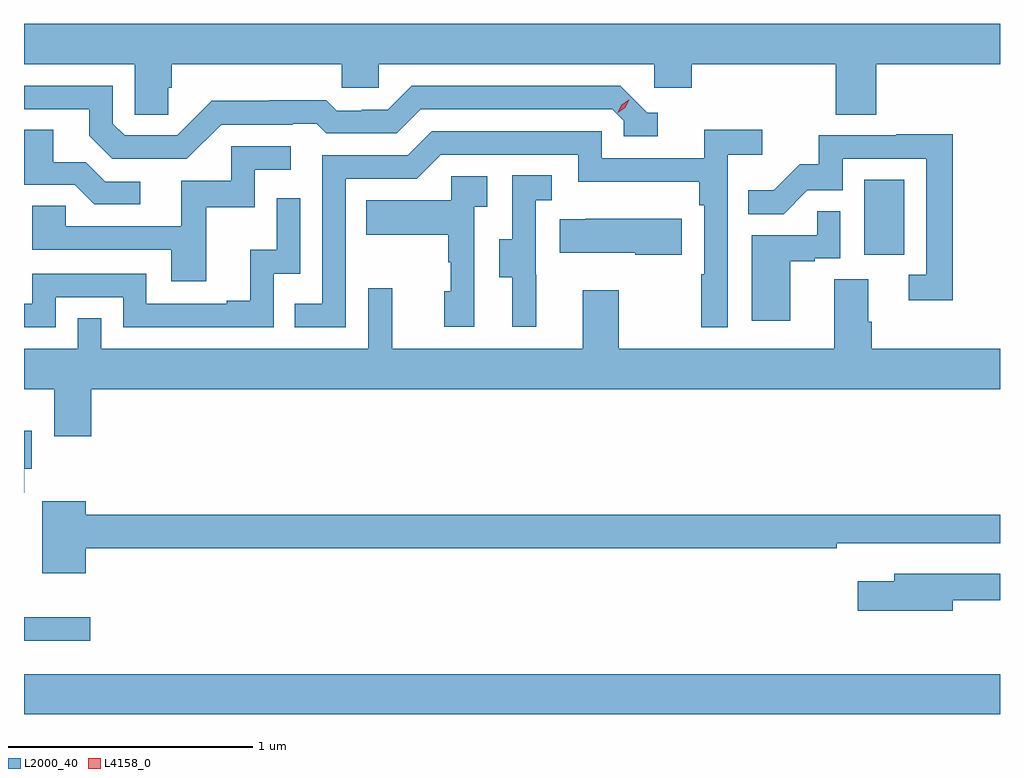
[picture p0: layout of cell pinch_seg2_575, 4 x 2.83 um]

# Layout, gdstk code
import gdstk
lib = gdstk.Library(unit=1e-6, precision=1e-09)
def R(c, l, rs):  # rectangles x0, y0, x1, y1
    for r in rs: c.add(gdstk.rectangle(r[:2], r[2:], *l))
def P(c, l, *ps):  # polygons
    for p in ps: c.add(gdstk.Polygon(p, *l))
L2000_40 = (2000, 40)
L4158_0 = (4158, 0)

pinch_seg2_575 = lib.new_cell('pinch_seg2_575')
R(pinch_seg2_575, L2000_40, [(1069.898,610.34,1073.898,610.504), (1069.898,610.64,1070.17,610.737), (1073.342,612.222,1073.506,612.529)])
P(pinch_seg2_575, L2000_40, [(1070.489,612.906),(1070.504,612.906),(1070.504,613.004),(1071.201,613.004),(1071.201,612.906),(1071.351,612.906),(1071.351,613.004),(1072.482,613.004),(1072.482,612.906),(1072.634,612.906),(1072.634,613.004),(1073.225,613.004),(1073.225,612.796),(1073.39,612.796),(1073.39,613.004),(1073.898,613.004),(1073.898,613.168),(1069.898,613.168),(1069.898,613.004),(1070.352,613.004),(1070.352,612.796),(1070.489,612.796)],
  [(1070.706,612.756),(1070.999,612.756),(1070.999,612.759),(1071.098,612.759),(1071.137,612.72),(1071.426,612.72),(1071.525,612.819),(1072.308,612.819),(1072.356,612.771),(1072.356,612.708),(1072.495,612.708),(1072.495,612.804),(1072.452,612.804),(1072.341,612.915),(1071.488,612.915),(1071.389,612.816),(1071.282,612.816),(1071.282,612.813),(1071.179,612.813),(1071.137,612.856),(1070.904,612.856),(1070.904,612.853),(1070.668,612.853),(1070.526,612.711),(1070.31,612.711),(1070.262,612.759),(1070.262,612.915),(1069.898,612.915),(1069.898,612.819),(1070.165,612.819),(1070.165,612.709),(1070.259,612.615),(1070.565,612.615)],
  [(1070.374,612.522),(1070.232,612.522),(1070.152,612.602),(1070.017,612.602),(1070.017,612.734),(1069.898,612.734),(1069.898,612.509),(1069.899,612.51),(1070.105,612.51),(1070.186,612.429),(1070.374,612.429)],
  [(1071.216,612.534),(1071.507,612.534),(1071.606,612.633),(1072.17,612.633),(1072.17,612.521),(1072.666,612.521),(1072.666,612.425),(1072.686,612.425),(1072.686,612.143),(1072.674,612.143),(1072.674,611.925),(1072.782,611.925),(1072.782,612.632),(1072.924,612.632),(1072.924,612.734),(1072.685,612.734),(1072.685,612.618),(1072.266,612.618),(1072.266,612.729),(1071.569,612.729),(1071.47,612.63),(1071.12,612.63),(1071.12,612.021),(1071.007,612.021),(1071.007,611.925),(1071.216,611.925)],
  [(1073.704,612.716),(1073.473,612.716),(1073.473,612.711),(1073.155,612.711),(1073.155,612.594),(1073.078,612.594),(1072.971,612.487),(1072.867,612.487),(1072.867,612.388),(1073.011,612.388),(1073.109,612.486),(1073.253,612.486),(1073.253,612.615),(1073.595,612.615),(1073.595,612.141),(1073.523,612.141),(1073.523,612.036),(1073.704,612.036)],
  [(1070.645,612.417),(1070.844,612.417),(1070.844,612.57),(1070.992,612.57),(1070.992,612.666),(1070.748,612.666),(1070.748,612.525),(1070.543,612.525),(1070.543,612.339),(1070.069,612.339),(1070.069,612.423),(1069.932,612.423),(1069.932,612.243),(1070.501,612.243),(1070.501,612.114),(1070.645,612.114)],
  [(1071.998,612.141),(1071.996,612.141),(1071.996,612.445),(1072.06,612.445),(1072.06,612.548),(1071.9,612.548),(1071.9,612.285),(1071.845,612.285),(1071.845,612.13),(1071.899,612.13),(1071.899,611.928),(1071.998,611.928)],
  [(1071.744,612.419),(1071.796,612.419),(1071.796,612.543),(1071.648,612.543),(1071.648,612.445),(1071.301,612.445),(1071.301,612.305),(1071.636,612.305),(1071.636,612.191),(1071.646,612.191),(1071.646,612.072),(1071.62,612.072),(1071.62,611.928),(1071.744,611.928)],
  [(1070.028,612.048),(1070.304,612.048),(1070.304,611.925),(1070.922,611.925),(1070.922,612.144),(1071.03,612.144),(1071.03,612.454),(1070.934,612.454),(1070.934,612.242),(1070.825,612.242),(1070.825,612.034),(1070.729,612.034),(1070.729,612.021),(1070.4,612.021),(1070.4,612.144),(1069.932,612.144),(1069.932,612.021),(1069.898,612.021),(1069.898,611.925),(1070.028,611.925)],
  [(1073.038,612.195),(1073.138,612.195),(1073.138,612.207),(1073.244,612.207),(1073.244,612.401),(1073.149,612.401),(1073.149,612.303),(1072.88,612.303),(1072.88,611.952),(1073.038,611.952)],
  [(1072.594,612.37),(1072.201,612.37),(1072.201,612.367),(1072.093,612.367),(1072.093,612.23),(1072.403,612.23),(1072.403,612.223),(1072.594,612.223)],
  [(1070.174,611.672),(1073.898,611.672),(1073.898,611.836),(1073.372,611.836),(1073.372,611.948),(1073.359,611.948),(1073.359,612.122),(1073.219,612.122),(1073.219,611.836),(1072.335,611.836),(1072.335,612.076),(1072.187,612.076),(1072.187,611.836),(1071.407,611.836),(1071.407,612.085),(1071.309,612.085),(1071.309,611.836),(1070.214,611.836),(1070.214,611.963),(1070.118,611.963),(1070.118,611.836),(1069.898,611.836),(1069.898,611.672),(1070.021,611.672),(1070.021,611.478),(1070.174,611.478)],
  [(1069.9,611.346),(1069.93,611.346),(1069.93,611.5),(1069.898,611.5),(1069.898,611.246),(1069.9,611.246)],
  [(1070.152,611.02),(1073.228,611.02),(1073.228,611.04),(1073.898,611.04),(1073.898,611.156),(1070.152,611.156),(1070.152,611.212),(1069.973,611.212),(1069.973,610.916),(1070.152,610.916)],
  [(1073.704,610.806),(1073.898,610.806),(1073.898,610.914),(1073.465,610.914),(1073.465,610.885),(1073.316,610.885),(1073.316,610.763),(1073.704,610.763)])
P(pinch_seg2_575, L4158_0, [(1072.332,612.805),(1072.332,612.806),(1072.347,612.838),(1072.377,612.858),(1072.378,612.858),(1072.378,612.858),(1072.362,612.825),(1072.332,612.805)])

lib.write_gds('pinch_seg2_575.gds')
